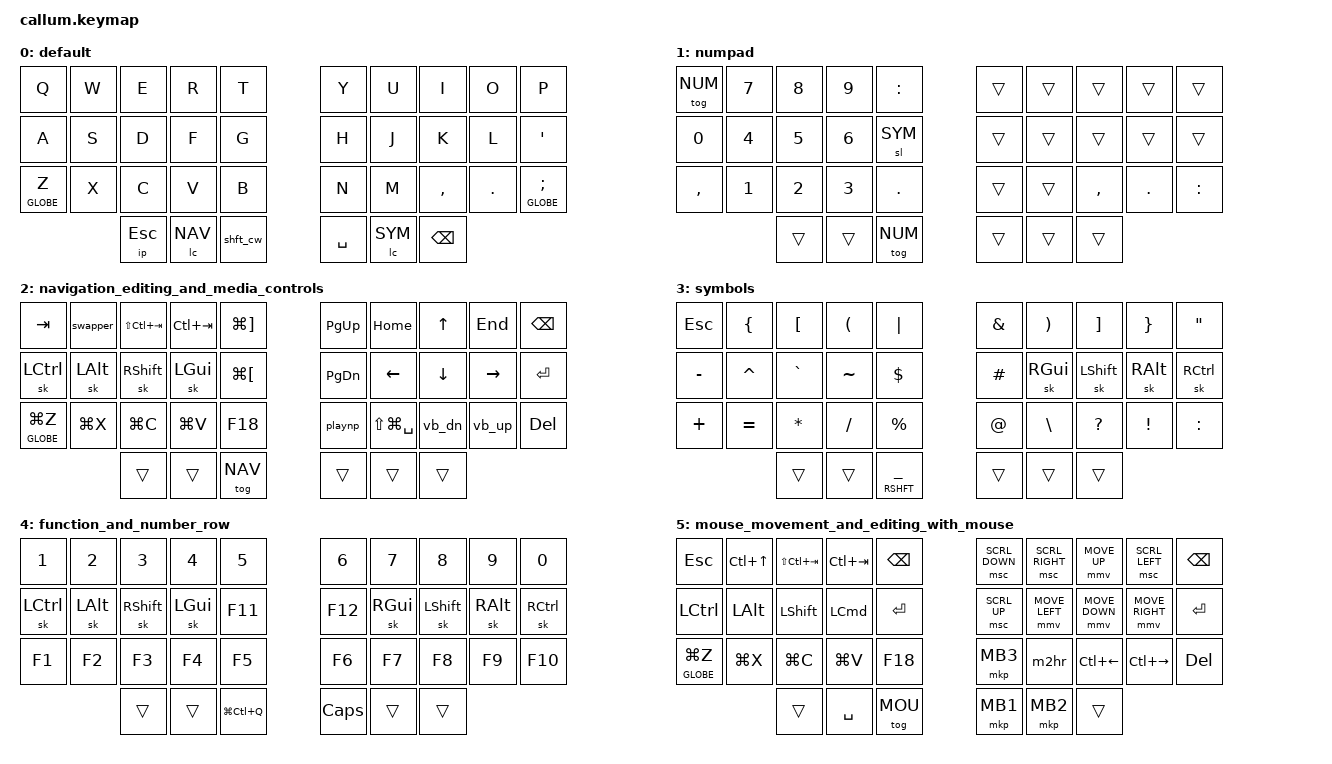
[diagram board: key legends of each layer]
#include <behaviors.dtsi>
#include <dt-bindings/zmk/bt.h>
#include <dt-bindings/zmk/keys.h>
#include "mouse.dtsi"

#define DEF 0
#define NUM 1
#define NAV 2
#define SYM 3
#define FUN 4
#define MOU 5

&sk {
	quick-release;// Avoids "THis" problem (double capitalization)
	release-after-ms = <86400000>;// Default is 1000 ms, raised to 1 day to emulate Callum's behavior that requires canceling on layer key.
};

&caps_word { // separators + K_CANCEL for &lc macro + LSHFT for PT-BR diacriticals dead keys. This makes RSHFT a thumb key that will &caps_word.
	/delete-property/ ignore-modifiers; // Requires PR#1451 (https://github.com/zmkfirmware/zmk/pull/1451) - currently unmantained but still working
	continue-list = <UNDERSCORE MINUS BACKSPACE DELETE K_CANCEL LSHFT SQT CARET TILDE GRAVE>;
};

&mt { flavor = "tap-preferred"; };

/ {
	combos {
		compatible = "zmk,combos";
		
		left_hand_esc_combo {
			bindings = <&kp ESCAPE>;
			key-positions = <0 10>;
			require-prior-idle-ms = <200>;
		};
				
		left_hand_enter_combo {
			bindings = <&kp ENTER>;
			key-positions = <3 13>;
			require-prior-idle-ms = <200>;
		};
		
		left_hand_backspace {
			bindings = <&kp BSPC>;
			key-positions = <4 14>;
			require-prior-idle-ms = <200>;
		};
		
		toggle_nav_layer_combo {
			key-positions = <30 31>;
			bindings = <&tog NAV>;
			layers = <DEF NAV NUM>;
		};
		
		toggle_mouse_layer {
			key-positions = <21 22 23>;
			bindings = <&tog MOU>;
			layers = <DEF NAV NUM MOU>;
		};
		
		toggle_numpad_layer {
			key-positions = <1 2 3>;
			bindings = <&tog NUM>;
			layers = <DEF NUM>;
		};

		media_mute_combo {
			key-positions = <27 28>;
			bindings = <&kp C_MUTE>;
			layers = <NAV>;
		};

		sys_bootloader {
			key-positions = <20 21>;
			bindings = <&bootloader>;
			layers = <FUN>;
		};
		
		sys_connect_to_bt0 {
			key-positions = <3 4>;
			bindings = <&bt BT_SEL 0>;
			layers = <FUN>;
		};
		
		sys_connect_to_bt1 {
			key-positions = <13 14>;
			bindings = <&bt BT_SEL 1>;
			layers = <FUN>;
		};
		
		sys_connect_to_bt2 {
			key-positions = <23 24>;
			bindings = <&bt BT_SEL 2>;
			layers = <FUN>;
		};
		
		sys_clear_current_bluetooth_profile {
			key-positions = <28 29>;
			bindings = <&bt BT_CLR>;
			layers = <FUN>;
		};
		
		sys_toggle_home_row_mods {
			key-positions = <14 15>;
			bindings = <&tog 1>;
			layers = <FUN>;
		};
	};
	
	behaviors {
		
		shft_cw: shft_caps_word {
			compatible = "zmk,behavior-tap-dance";
			#binding-cells = <0>;
			bindings = <&kp RSHFT>, <&caps_word>;
			tapping-term-ms = <300>;
		};
		
		playnp: play_next_previous_media_key {
			compatible = "zmk,behavior-tap-dance";
			#binding-cells = <0>;
			tapping-term-ms = <300>;
			bindings = <&kp C_PLAY_PAUSE>, <&kp C_NEXT>, <&kp C_PREVIOUS>;
		};
		
		vb_up: volume_brightness_up_on_control {
            compatible = "zmk,behavior-mod-morph";
            #binding-cells = <0>;
            bindings = <&kp C_VOL_UP>, <&kp C_BRI_UP>;
            mods = <(MOD_LCTL)>;
        };

        vb_dn: volume_brightness_down_on_control {
            compatible = "zmk,behavior-mod-morph";
            #binding-cells = <0>;
            bindings = <&kp C_VOL_DN>, <&kp C_BRI_DN>;
            mods = <(MOD_LCTL)>;
        };

		swapper: swapper_for_apple_cmd_tab {
			compatible = "zmk,behavior-tri-state";// requires tri-state module (https://github.com/urob/zmk-tri-state)
			#binding-cells = <0>;
			bindings = <&kt RGUI>, <&kp TAB>, <&kt RGUI>; // For Windows alt-tab, need to switch to &kt LALT
			ignored-key-positions = <7 9 16 17 18 19 29>;// Arrows and BSPC, ENTER and DEL
		};
		
	};
	
	macros {
		lc: mo_layer_switch_with_an_embeded_cancel_tap_for_clearing_any_queued_sticky_mods_on_layer_activation {
			compatible = "zmk,behavior-macro-one-param";
			label = "mo_layer/cancel";
			wait-ms = <0>;
			tap-ms = <0>;
			#binding-cells = <1>;
			bindings =
			<&macro_tap>,
			<&kp K_CANCEL &macro_param_1to1>,
			<&macro_press>,
			<&mo MACRO_PLACEHOLDER>,
			<&macro_pause_for_release>,
			<&macro_param_1to1>,
			<&macro_release>,
			<&mo MACRO_PLACEHOLDER>;
		};

		m2hr: from_mouse_layer_to_def_with_homerow_app_activation {
			compatible = "zmk,behavior-macro";
			label = "from mouse to homerow";
			wait-ms = <0>;
			tap-ms = <0>;
			#binding-cells = <0>;
			bindings = <&macro_tap>, <&tog MOU &kp LG(LS(SPACE))>; // default shortcut for homerow hints (https://www.homerow.app) for faster clicking without a mouse
		};
		
	};
	
	conditional_layers {
		compatible = "zmk,conditional-layers";

		tri_layer_for_function_and_number_row_keys {
			if-layers = <NAV SYM>;
			then-layer = <FUN>;
		};
	};
	
	keymap {
		compatible = "zmk,keymap";

		default {
			bindings = <
			&kp Q        &kp W  &kp E    &kp R    &kp T       &kp Y      &kp U    &kp I      &kp O    &kp P
			&kp A        &kp S  &kp D    &kp F    &kp G       &kp H      &kp J    &kp K      &kp L    &kp SQT
			&mt GLOBE Z  &kp X  &kp C    &kp V    &kp B       &kp N      &kp M    &kp COMMA  &kp DOT  &mt GLOBE SEMI
                                &ip ESC  &lc NAV  &shft_cw    &kp SPACE  &lc SYM  &kp BSPC
			>;
		};
		
		numpad {
			bindings = <
			&tog NUM	&kp N7  &kp N8  &kp N9	&kp COLON	&trans  &trans	&trans     &trans   &trans
			&kp N0		&kp N4  &kp N5  &kp N6	&sl SYM		&trans  &trans	&trans     &trans   &trans
			&kp COMMA	&kp N1  &kp N2  &kp N3	&kp DOT		&trans  &trans	&kp COMMA  &kp DOT  &kp COLON
                                &trans  &trans	&tog NUM	&trans	&trans  &trans
			>;
		};
		
		navigation_editing_and_media_controls {
			bindings = <
			&kp TAB			&swapper	&kp LS(LC(TAB))	&kp LC(TAB)	&kp LG(RBKT)	&kp PG_UP	&kp HOME			&kp UP		&kp END		&kp BSPC
			&sk LCTRL		&sk LALT	&sk RSHFT		&sk LGUI	&kp LG(LBKT)	&kp PG_DN	&kp LEFT			&kp DOWN	&kp RIGHT	&kp RET
			&mt GLOBE LG(Z)	&kp LG(X)	&kp LG(C)		&kp LG(V)	&kp F18			&playnp		&kp LS(LG(SPACE))	&vb_dn  	&vb_up		&kp DEL
										&trans          &trans		&tog NAV		&trans		&trans              &trans
			>;
		};
		
		symbols {
			bindings = <
			&kp ESC		&kp LBRC	&kp LBKT	&kp LPAR   	&kp PIPE		&kp AMPS	&kp RPAR	&kp RBKT	&kp RBRC 	&kp DQT
			&kp MINUS	&kp CARET	&kp GRAVE	&kp TILDE	&kp DOLLAR		&kp HASH   	&sk RGUI	&sk LSHFT	&sk RALT	&sk RCTRL
			&kp PLUS	&kp EQUAL	&kp ASTRK	&kp FSLH   	&kp PRCNT		&kp AT		&kp BSLH	&kp QMARK	&kp EXCL	&kp COLON
			                        &trans      &trans      &lt RSHFT UNDER	&trans	 	&trans      &trans
			>;
		};
		
		function_and_number_row {
			bindings = <
			&kp N1     &kp N2    &kp N3     &kp N4    &kp N5        &kp N6    &kp N7    &kp N8     &kp N9    &kp N0
			&sk LCTRL  &sk LALT  &sk RSHFT  &sk LGUI  &kp F11       &kp F12   &sk RGUI  &sk LSHFT  &sk RALT  &sk RCTRL 
			&kp F1     &kp F2    &kp F3     &kp F4    &kp F5        &kp F6    &kp F7    &kp F8     &kp F9    &kp F10
			                     &trans     &trans    &kp LG(LC(Q))	&kp CAPS  &trans    &trans
			>;
		};
		
		mouse_movement_and_editing_with_mouse {
			bindings = <
			&kp ESC			&kp LC(UP)	&kp LS(LC(TAB))	&kp LC(TAB)	&kp BSPC	&msc SCRL_DOWN  &msc SCRL_RIGHT  &mmv MOVE_UP	&msc SCRL_LEFT	&kp BSPC
			&kp LCTRL		&kp LALT	&kp LSHFT		&kp LCMD	&kp ENTER	&msc SCRL_UP    &mmv MOVE_LEFT   &mmv MOVE_DOWN	&mmv MOVE_RIGHT	&kp ENTER
			&mt GLOBE LG(Z)	&kp LG(X)	&kp LG(C)		&kp LG(V)	&kp F18		&mkp MB3		&m2hr			 &kp LC(LEFT)	&kp LC(RIGHT)	&kp DEL
										&trans          &kp SPACE	&tog MOU	&mkp MB1        &mkp MB2         &trans
			>;
		};
	};
};
